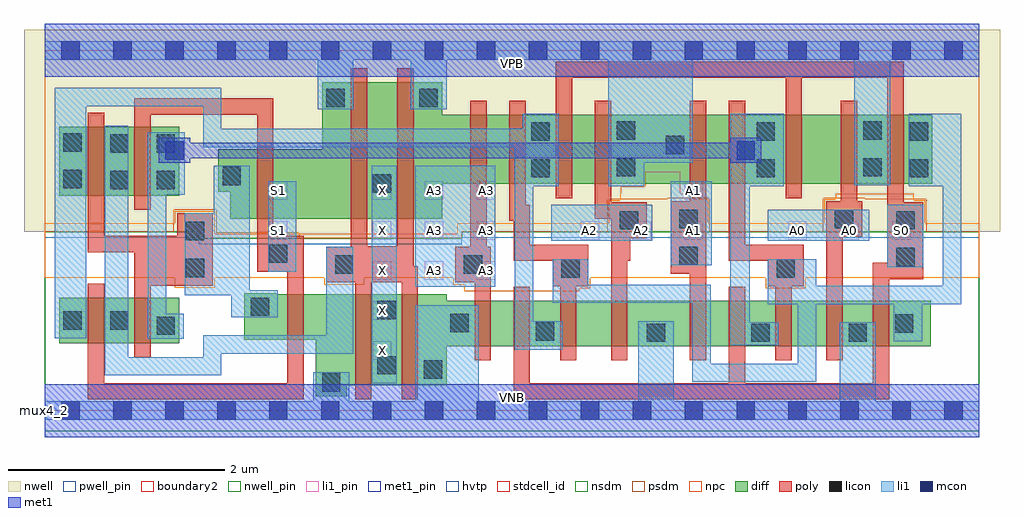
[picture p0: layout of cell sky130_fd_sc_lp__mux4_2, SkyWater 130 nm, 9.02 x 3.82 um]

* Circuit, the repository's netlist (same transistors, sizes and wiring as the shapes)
* Copyright 2020 The SkyWater PDK Authors
*
* Licensed under the Apache License, Version 2.0 (the "License");
* you may not use this file except in compliance with the License.
* You may obtain a copy of the License at
*
*     https://www.apache.org/licenses/LICENSE-2.0
*
* Unless required by applicable law or agreed to in writing, software
* distributed under the License is distributed on an "AS IS" BASIS,
* WITHOUT WARRANTIES OR CONDITIONS OF ANY KIND, either express or implied.
* See the License for the specific language governing permissions and
* limitations under the License.
*
* SPDX-License-Identifier: Apache-2.0

.SUBCKT sky130_fd_sc_lp__mux4_2 A0 A1 A2 A3 S0 S1 VGND VNB VPB VPWR X
*.PININFO A0:I A1:I A2:I A3:I S0:I S1:I VGND:I VNB:I VPB:I VPWR:I X:O
MMNA00 sndNS0ba0 S0b xlowb VNB sky130_fd_pr__nfet_01v8 m=1 w=0.42U l=0.15U mult=1
+ sa=0.265 sb=0.265 sd=0.28 area=0.028 perim=0.76
MMNA01 VGND A0 sndNS0ba0 VNB sky130_fd_pr__nfet_01v8 m=1 w=0.42U l=0.15U mult=1
+ sa=0.265 sb=0.265 sd=0.28 area=0.028 perim=0.76
MMNA10 sndNS0a1 S0 xlowb VNB sky130_fd_pr__nfet_01v8 m=1 w=0.42U l=0.15U mult=1
+ sa=0.265 sb=0.265 sd=0.28 area=0.028 perim=0.76
MMNA11 VGND A1 sndNS0a1 VNB sky130_fd_pr__nfet_01v8 m=1 w=0.42U l=0.15U mult=1
+ sa=0.265 sb=0.265 sd=0.28 area=0.028 perim=0.76
MMNA20 sndNS0ba2 S0b xhib VNB sky130_fd_pr__nfet_01v8 m=1 w=0.42U l=0.15U mult=1
+ sa=0.265 sb=0.265 sd=0.28 area=0.028 perim=0.76
MMNA21 VGND A2 sndNS0ba2 VNB sky130_fd_pr__nfet_01v8 m=1 w=0.42U l=0.15U mult=1
+ sa=0.265 sb=0.265 sd=0.28 area=0.028 perim=0.76
MMNA30 sndNS0a3 S0 xhib VNB sky130_fd_pr__nfet_01v8 m=1 w=0.42U l=0.15U mult=1
+ sa=0.265 sb=0.265 sd=0.28 area=0.028 perim=0.76
MMNA31 VGND A3 sndNS0a3 VNB sky130_fd_pr__nfet_01v8 m=1 w=0.42U l=0.15U mult=1
+ sa=0.265 sb=0.265 sd=0.28 area=0.028 perim=0.76
MMNs1o xb S1b xlowb VNB sky130_fd_pr__nfet_01v8 m=1 w=0.42U l=0.15U mult=1 sa=0.265
+ sb=0.265 sd=0.28 area=0.028 perim=0.76
MMNs2o xb S1 xhib VNB sky130_fd_pr__nfet_01v8 m=1 w=0.42U l=0.15U mult=1 sa=0.265
+ sb=0.265 sd=0.28 area=0.028 perim=0.76
MMIN1 VGND S1 S1b VNB sky130_fd_pr__nfet_01v8 m=1 w=0.42U l=0.15U mult=1 sa=0.265
+ sb=0.265 sd=0.28 area=0.028 perim=0.76
MMIN2 VGND S0 S0b VNB sky130_fd_pr__nfet_01v8 m=1 w=0.42U l=0.15U mult=1 sa=0.265
+ sb=0.265 sd=0.28 area=0.028 perim=0.76
MMIN4 VGND xb X VNB sky130_fd_pr__nfet_01v8 m=2 w=0.84U l=0.15U mult=1 sa=0.265
+ sb=0.265 sd=0.28 area=0.028 perim=0.76
MMPA00 sndPA0a0 A0 VPWR VPB sky130_fd_pr__pfet_01v8_hvt m=1 w=0.64U l=0.15U mult=1
+ sa=0.265 sb=0.265 sd=0.28 area=0.028 perim=0.76
MMPA01 xlowb S0 sndPA0a0 VPB sky130_fd_pr__pfet_01v8_hvt m=1 w=0.64U l=0.15U mult=1
+ sa=0.265 sb=0.265 sd=0.28 area=0.028 perim=0.76
MMPA10 sndPA1a1 A1 VPWR VPB sky130_fd_pr__pfet_01v8_hvt m=1 w=0.64U l=0.15U mult=1
+ sa=0.265 sb=0.265 sd=0.28 area=0.028 perim=0.76
MMPA11 xlowb S0b sndPA1a1 VPB sky130_fd_pr__pfet_01v8_hvt m=1 w=0.64U l=0.15U mult=1
+ sa=0.265 sb=0.265 sd=0.28 area=0.028 perim=0.76
MMPA20 sndPA2a2 A2 VPWR VPB sky130_fd_pr__pfet_01v8_hvt m=1 w=0.64U l=0.15U mult=1
+ sa=0.265 sb=0.265 sd=0.28 area=0.028 perim=0.76
MMPA21 xhib S0 sndPA2a2 VPB sky130_fd_pr__pfet_01v8_hvt m=1 w=0.64U l=0.15U mult=1
+ sa=0.265 sb=0.265 sd=0.28 area=0.028 perim=0.76
MMPA30 sndPA3a3 A3 VPWR VPB sky130_fd_pr__pfet_01v8_hvt m=1 w=0.64U l=0.15U mult=1
+ sa=0.265 sb=0.265 sd=0.28 area=0.028 perim=0.76
MMPA31 xhib S0b sndPA3a3 VPB sky130_fd_pr__pfet_01v8_hvt m=1 w=0.64U l=0.15U mult=1
+ sa=0.265 sb=0.265 sd=0.28 area=0.028 perim=0.76
MMPs1o xb S1 xlowb VPB sky130_fd_pr__pfet_01v8_hvt m=1 w=0.64U l=0.15U mult=1 sa=0.265
+ sb=0.265 sd=0.28 area=0.028 perim=0.76
MMPs2o xb S1b xhib VPB sky130_fd_pr__pfet_01v8_hvt m=1 w=0.64U l=0.15U mult=1 sa=0.265
+ sb=0.265 sd=0.28 area=0.028 perim=0.76
MMIP1 VPWR S1 S1b VPB sky130_fd_pr__pfet_01v8_hvt m=1 w=0.64U l=0.15U mult=1 sa=0.265
+ sb=0.265 sd=0.28 area=0.028 perim=0.76
MMIP2 VPWR S0 S0b VPB sky130_fd_pr__pfet_01v8_hvt m=1 w=0.64U l=0.15U mult=1 sa=0.265
+ sb=0.265 sd=0.28 area=0.028 perim=0.76
MMIP4 VPWR xb X VPB sky130_fd_pr__pfet_01v8_hvt m=2 w=1.26U l=0.15U mult=1 sa=0.265
+ sb=0.265 sd=0.28 area=0.028 perim=0.76
.ENDS sky130_fd_sc_lp__mux4_2

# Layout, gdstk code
import gdstk
lib = gdstk.Library(unit=1e-6, precision=1e-09)
def R(c, l, rs):  # rectangles x0, y0, x1, y1
    for r in rs: c.add(gdstk.rectangle(r[:2], r[2:], *l))
def A(c, l, x, y, w, h, nx, ny, dx, dy):  # array of equal rectangles
    R(c, l, [(x+i*dx, y+j*dy, x+i*dx+w, y+j*dy+h) for i in range(nx) for j in range(ny)])
def P(c, l, *ps):  # polygons
    for p in ps: c.add(gdstk.Polygon(p, *l))
nwell_pin = (64, 16)
nwell = (64, 20)
diff = (65, 20)
poly = (66, 20)
licon = (66, 44)
li1_pin = (67, 16)
li1 = (67, 20)
mcon = (67, 44)
met1_pin = (68, 16)
met1 = (68, 20)
hvtp = (78, 44)
stdcell_id = (81, 4)
nsdm = (93, 44)
psdm = (94, 20)
npc = (95, 20)
pwell_pin = (122, 16)
boundary2 = (236, 0)

sky130_fd_sc_lp__mux4_2 = lib.new_cell('sky130_fd_sc_lp__mux4_2')
R(sky130_fd_sc_lp__mux4_2, nwell_pin, [(0,3.085,8.64,3.33)])
P(sky130_fd_sc_lp__mux4_2, nwell, [(8.83,3.52),(-0.19,3.52),(-0.19,1.655),(1.425,1.655),(1.425,1.595),(3.855,1.595),(3.855,1.655),(8.83,1.655)])
R(sky130_fd_sc_lp__mux4_2, diff, [(0.135,0.625,1.245,1.045), (0.135,1.985,1.245,2.625)])
P(sky130_fd_sc_lp__mux4_2, diff, [(8.19,1.015),(3.715,1.015),(3.715,1.075),(2.135,1.075),(2.135,1.085),(1.845,1.085),(1.845,0.655),(2.505,0.655),(2.505,0.135),(2.795,0.135),(2.795,0.235),(3.715,0.235),(3.715,0.595),(8.19,0.595)],
  [(8.205,2.735),(3.675,2.735),(3.675,3.035),(2.565,3.035),(2.565,2.415),(1.605,2.415),(1.605,2.025),(1.715,2.025),(1.715,1.775),(3.675,1.775),(3.675,2.095),(8.205,2.095)])
P(sky130_fd_sc_lp__mux4_2, poly, [(1.555,1.825),(1.225,1.825),(1.225,1.615),(0.55,1.615),(0.55,2.755),(0.4,2.755),(0.4,1.465),(0.83,1.465),(0.83,0.495),(0.98,0.495),(0.98,1.155),(1.555,1.155)],
  [(2.395,1.615),(2.115,1.615),(2.115,2.885),(0.83,2.885),(0.83,1.855),(0.98,1.855),(0.98,2.735),(1.965,2.735),(1.965,1.285),(2.245,1.285),(2.245,0.255),(0.55,0.255),(0.55,1.175),(0.4,1.175),(0.4,0.105),(2.395,0.105)],
  [(3.45,1.335),(3.41,1.335),(3.41,3.165),(3.26,3.165),(3.26,1.52),(2.98,1.52),(2.98,3.165),(2.83,3.165),(2.83,1.515),(2.605,1.515),(2.605,1.185),(2.87,1.185),(2.87,0.105),(3.02,0.105),(3.02,1.185),(3.3,1.185),(3.3,0.105),(3.45,0.105)],
  [(4.125,1.515),(4.085,1.515),(4.085,2.865),(3.935,2.865),(3.935,1.515),(3.795,1.515),(3.795,1.185),(3.975,1.185),(3.975,0.465),(4.125,0.465)],
  [(5.025,1.535),(4.485,1.535),(4.485,1.905),(4.445,1.905),(4.445,2.865),(4.295,2.865),(4.295,1.755),(4.335,1.755),(4.335,1.385),(4.695,1.385),(4.695,1.15),(4.765,1.15),(4.765,0.465),(4.915,0.465),(4.915,1.15),(5.025,1.15)],
  [(5.565,1.925),(5.235,1.925),(5.235,2.865),(5.085,2.865),(5.085,1.775),(5.235,1.775),(5.235,0.465),(5.385,0.465),(5.385,1.385),(5.415,1.385),(5.415,1.595),(5.565,1.595)],
  [(6.115,2.865),(5.965,2.865),(5.965,1.935),(5.785,1.935),(5.785,1.265),(5.965,1.265),(5.965,0.465),(6.115,0.465)],
  [(7.015,1.535),(6.475,1.535),(6.475,2.865),(6.325,2.865),(6.325,1.385),(6.685,1.385),(6.685,1.15),(6.755,1.15),(6.755,0.465),(6.905,0.465),(6.905,1.15),(7.015,1.15)],
  [(7.555,1.935),(7.51,1.935),(7.51,2.865),(7.36,2.865),(7.36,1.935),(7.225,1.935),(7.225,0.465),(7.375,0.465),(7.375,1.605),(7.555,1.605)],
  [(8.12,1.925),(7.94,1.925),(7.94,3.225),(4.725,3.225),(4.725,1.965),(4.875,1.965),(4.875,3.075),(6.85,3.075),(6.85,1.965),(7,1.965),(7,3.075),(7.79,3.075),(7.79,1.365),(7.655,1.365),(7.655,0.255),(6.475,0.255),(6.475,1.145),(6.325,1.145),(6.325,0.255),(4.485,0.255),(4.485,1.145),(4.335,1.145),(4.335,0.105),(7.805,0.105),(7.805,1.215),(8.12,1.215)])
R(sky130_fd_sc_lp__mux4_2, licon, [(2.565,0.175,2.735,0.345), (3.505,0.295,3.675,0.465), (3.075,0.335,3.245,0.505), (5.565,0.635,5.735,0.805), (6.53,0.635,6.7,0.805), (7.43,0.635,7.6,0.805), (4.54,0.645,4.71,0.815), (1.035,0.7,1.205,0.87), (7.86,0.72,8.03,0.89), (3.75,0.725,3.92,0.895), (0.175,0.75,0.345,0.92), (0.605,0.75,0.775,0.92), (3.075,0.845,3.245,1.015), (1.905,0.875,2.075,1.045), (4.775,1.23,4.945,1.4), (6.765,1.23,6.935,1.4), (1.305,1.235,1.475,1.405), (2.685,1.265,2.855,1.435), (3.875,1.265,4.045,1.435), (7.87,1.335,8.04,1.505), (5.865,1.345,6.035,1.515), (2.075,1.365,2.245,1.535), (1.305,1.575,1.475,1.745), (5.315,1.675,5.485,1.845), (7.87,1.675,8.04,1.845), (5.865,1.685,6.035,1.855), (7.305,1.685,7.475,1.855), (3.035,2.015,3.205,2.185), (0.605,2.045,0.775,2.215), (1.035,2.045,1.205,2.215), (0.175,2.055,0.345,2.225), (1.645,2.085,1.815,2.255), (4.5,2.155,4.67,2.325), (6.58,2.155,6.75,2.325), (7.995,2.155,8.165,2.325), (5.29,2.165,5.46,2.335), (7.565,2.165,7.735,2.335), (5.74,2.37,5.91,2.54), (0.605,2.385,0.775,2.555), (1.035,2.385,1.205,2.555), (0.175,2.395,0.345,2.565), (4.5,2.495,4.67,2.665), (6.58,2.495,6.75,2.665), (7.995,2.495,8.165,2.665), (5.29,2.505,5.46,2.675), (7.565,2.505,7.735,2.675), (2.605,2.805,2.775,2.975), (3.465,2.805,3.635,2.975)])
A(sky130_fd_sc_lp__mux4_2, li1_pin, 3.035, 1.21, 0.17, 0.17, 3, 3, 0.48, 0.37)
A(sky130_fd_sc_lp__mux4_2, li1_pin, 4.955, 1.58, 0.17, 0.17, 3, 1, 0.48, 0)
A(sky130_fd_sc_lp__mux4_2, li1_pin, 6.875, 1.58, 0.17, 0.17, 3, 1, 0.48, 0)
R(sky130_fd_sc_lp__mux4_2, li1_pin, [(3.035,0.47,3.205,0.64), (3.035,0.84,3.205,1.01), (2.075,1.58,2.245,1.75), (2.075,1.95,2.245,2.12), (5.915,1.95,6.085,2.12)])
R(sky130_fd_sc_lp__mux4_2, li1, [(3.025,0.255,3.255,2.265), (3.425,1.145,4.165,2.265), (2.065,1.285,2.325,2.12), (7.79,1.325,8.12,1.905), (5.785,1.345,6.165,2.12), (4.685,1.57,5.615,1.905), (6.685,1.57,7.62,1.855)])
P(sky130_fd_sc_lp__mux4_2, li1, [(8.3,1.155),(8.3,2.075),(7.985,2.075),(7.985,2.745),(8.47,2.745),(8.47,0.985),(8.11,0.985),(8.11,0.64),(7.85,0.64),(7.85,0.985),(7.13,0.985),(7.13,0.265),(5.985,0.265),(5.985,0.995),(4.695,0.995),(4.695,1.4),(5.025,1.4),(5.025,1.165),(6.155,1.165),(6.155,0.435),(6.96,0.435),(6.96,0.985),(6.685,0.985),(6.685,1.4),(7.13,1.4),(7.13,1.155)],
  [(8.64,3.415),(0,3.415),(0,3.245),(2.525,3.245),(2.525,2.785),(2.855,2.785),(2.855,3.245),(3.385,3.245),(3.385,2.785),(3.715,2.785),(3.715,3.245),(5.21,3.245),(5.21,2.075),(5.54,2.075),(5.54,2.29),(5.99,2.29),(5.99,3.245),(7.485,3.245),(7.485,2.085),(7.815,2.085),(7.815,3.245),(8.64,3.245)],
  [(5.485,0.085),(5.485,0.825),(5.815,0.825),(5.815,0.085),(7.35,0.085),(7.35,0.815),(7.68,0.815),(7.68,0.085),(8.64,0.085),(8.64,-0.085),(0,-0.085),(0,0.085),(2.485,0.085),(2.485,0.355),(2.815,0.355),(2.815,0.085),(3.425,0.085),(3.425,0.975),(4.015,0.975),(4.015,0.085)],
  [(1.565,1.825),(1.565,2.265),(1.895,2.265),(1.895,1.115),(2.155,1.115),(2.155,0.865),(1.725,0.865),(1.725,1.065),(1.295,1.065),(1.295,1.825)],
  [(0.955,2.575),(1.295,2.575),(1.295,1.995),(1.125,1.995),(1.125,0.895),(1.285,0.895),(1.285,0.665),(0.955,0.665)],
  [(6.335,2.745),(6.83,2.745),(6.83,2.075),(6.515,2.075),(6.515,0.815),(6.78,0.815),(6.78,0.605),(6.335,0.605)],
  [(1.465,2.435),(1.465,2.815),(0.385,2.815),(0.385,0.67),(0.095,0.67),(0.095,2.985),(1.635,2.985),(1.635,2.605),(4.42,2.605),(4.42,2.745),(4.75,2.745),(4.75,2.075),(4.515,2.075),(4.515,0.825),(4.79,0.825),(4.79,0.565),(4.345,0.565),(4.345,2.435)],
  [(0.555,0.325),(0.555,2.635),(0.775,2.635),(0.775,0.495),(1.465,0.495),(1.465,0.695),(2.605,0.695),(2.605,1.515),(2.855,1.515),(2.855,0.525),(1.635,0.525),(1.635,0.325)])
A(sky130_fd_sc_lp__mux4_2, mcon, 0.155, -0.085, 0.17, 0.17, 18, 2, 0.48, 3.33)
R(sky130_fd_sc_lp__mux4_2, mcon, [(1.115,2.32,1.285,2.49), (6.395,2.32,6.565,2.49)])
R(sky130_fd_sc_lp__mux4_2, met1_pin, [(0,0,8.64,0.245), (0,3.085,8.64,3.33)])
R(sky130_fd_sc_lp__mux4_2, met1, [(0,-0.245,8.64,0.245), (0,3.085,8.64,3.575)])
P(sky130_fd_sc_lp__mux4_2, met1, [(1.345,2.475),(6.335,2.475),(6.335,2.52),(6.625,2.52),(6.625,2.29),(6.335,2.29),(6.335,2.335),(1.345,2.335),(1.345,2.29),(1.055,2.29),(1.055,2.52),(1.345,2.52)])
P(sky130_fd_sc_lp__mux4_2, hvtp, [(8.64,3.33),(0,3.33),(0,1.6),(1.425,1.6),(1.425,1.54),(3.855,1.54),(3.855,1.6),(8.64,1.6)])
R(sky130_fd_sc_lp__mux4_2, stdcell_id, [(0,0,8.64,3.33)])
P(sky130_fd_sc_lp__mux4_2, nsdm, [(8.64,1.655),(3.855,1.655),(3.855,1.595),(1.425,1.595),(1.425,1.655),(0,1.655),(0,-0.19),(8.64,-0.19)])
P(sky130_fd_sc_lp__mux4_2, psdm, [(8.64,3.52),(0,3.52),(0,1.655),(1.195,1.655),(1.195,1.855),(1.585,1.855),(1.585,1.645),(2.355,1.645),(2.355,1.595),(3.855,1.595),(3.855,1.655),(5.205,1.655),(5.205,1.955),(5.755,1.955),(5.755,1.965),(6.145,1.965),(6.145,1.655),(7.195,1.655),(7.195,1.965),(7.585,1.965),(7.585,1.955),(8.15,1.955),(8.15,1.655),(8.64,1.655)])
P(sky130_fd_sc_lp__mux4_2, npc, [(8.64,1.73),(8.14,1.73),(8.14,1.945),(8.035,1.945),(8.035,2.005),(7.31,2.005),(7.31,1.955),(7.205,1.955),(7.205,1.73),(6.135,1.73),(6.135,1.955),(6.03,1.955),(6.03,2.005),(5.875,2.005),(5.875,2.21),(5.55,2.21),(5.55,2.075),(5.325,2.075),(5.325,2.005),(5.32,2.005),(5.32,1.945),(5.215,1.945),(5.215,1.73),(3.815,1.73),(3.815,1.635),(1.575,1.635),(1.575,1.845),(1.205,1.845),(1.205,1.73),(0,1.73),(0,1.23),(1.205,1.23),(1.205,1.135),(1.575,1.135),(1.575,1.23),(2.585,1.23),(2.585,1.165),(2.955,1.165),(2.955,1.23),(3.775,1.23),(3.775,1.165),(3.88,1.165),(3.88,1.105),(4.94,1.105),(4.94,1.13),(5.045,1.13),(5.045,1.23),(6.665,1.23),(6.665,1.13),(7.035,1.13),(7.035,1.23),(8.64,1.23)])
R(sky130_fd_sc_lp__mux4_2, pwell_pin, [(0,0,8.64,0.245)])
R(sky130_fd_sc_lp__mux4_2, boundary2, [(0,0,8.64,3.33)])
sky130_fd_sc_lp__mux4_2.add(gdstk.Label('VNB', (4.32,0.123), layer=64, texttype=59))
sky130_fd_sc_lp__mux4_2.add(gdstk.Label('VPB', (4.32,3.208), layer=64, texttype=5))
sky130_fd_sc_lp__mux4_2.add(gdstk.Label('mux4_2', (0,0), layer=83, texttype=44))
sky130_fd_sc_lp__mux4_2.add(gdstk.Label('VPWR', (4.32,3.208), layer=68, texttype=5))
sky130_fd_sc_lp__mux4_2.add(gdstk.Label('VGND', (4.32,0.123), layer=68, texttype=5))
sky130_fd_sc_lp__mux4_2.add(gdstk.Label('X', (3.12,0.555), layer=67, texttype=5))
sky130_fd_sc_lp__mux4_2.add(gdstk.Label('X', (3.12,0.925), layer=67, texttype=5))
sky130_fd_sc_lp__mux4_2.add(gdstk.Label('X', (3.12,1.295), layer=67, texttype=5))
sky130_fd_sc_lp__mux4_2.add(gdstk.Label('X', (3.12,1.665), layer=67, texttype=5))
sky130_fd_sc_lp__mux4_2.add(gdstk.Label('X', (3.12,2.035), layer=67, texttype=5))
sky130_fd_sc_lp__mux4_2.add(gdstk.Label('A0', (6.96,1.665), layer=67, texttype=5))
sky130_fd_sc_lp__mux4_2.add(gdstk.Label('A0', (7.44,1.665), layer=67, texttype=5))
sky130_fd_sc_lp__mux4_2.add(gdstk.Label('A1', (6,1.665), layer=67, texttype=5))
sky130_fd_sc_lp__mux4_2.add(gdstk.Label('A1', (6,2.035), layer=67, texttype=5))
sky130_fd_sc_lp__mux4_2.add(gdstk.Label('A2', (5.04,1.665), layer=67, texttype=5))
sky130_fd_sc_lp__mux4_2.add(gdstk.Label('A2', (5.52,1.665), layer=67, texttype=5))
sky130_fd_sc_lp__mux4_2.add(gdstk.Label('A3', (3.6,1.295), layer=67, texttype=5))
sky130_fd_sc_lp__mux4_2.add(gdstk.Label('A3', (3.6,1.665), layer=67, texttype=5))
sky130_fd_sc_lp__mux4_2.add(gdstk.Label('A3', (3.6,2.035), layer=67, texttype=5))
sky130_fd_sc_lp__mux4_2.add(gdstk.Label('A3', (4.08,1.295), layer=67, texttype=5))
sky130_fd_sc_lp__mux4_2.add(gdstk.Label('A3', (4.08,1.665), layer=67, texttype=5))
sky130_fd_sc_lp__mux4_2.add(gdstk.Label('A3', (4.08,2.035), layer=67, texttype=5))
sky130_fd_sc_lp__mux4_2.add(gdstk.Label('S1', (2.16,1.665), layer=67, texttype=5))
sky130_fd_sc_lp__mux4_2.add(gdstk.Label('S1', (2.16,2.035), layer=67, texttype=5))
sky130_fd_sc_lp__mux4_2.add(gdstk.Label('S0', (7.92,1.665), layer=67, texttype=5))

lib.write_gds('sky130_fd_sc_lp__mux4_2.gds')
